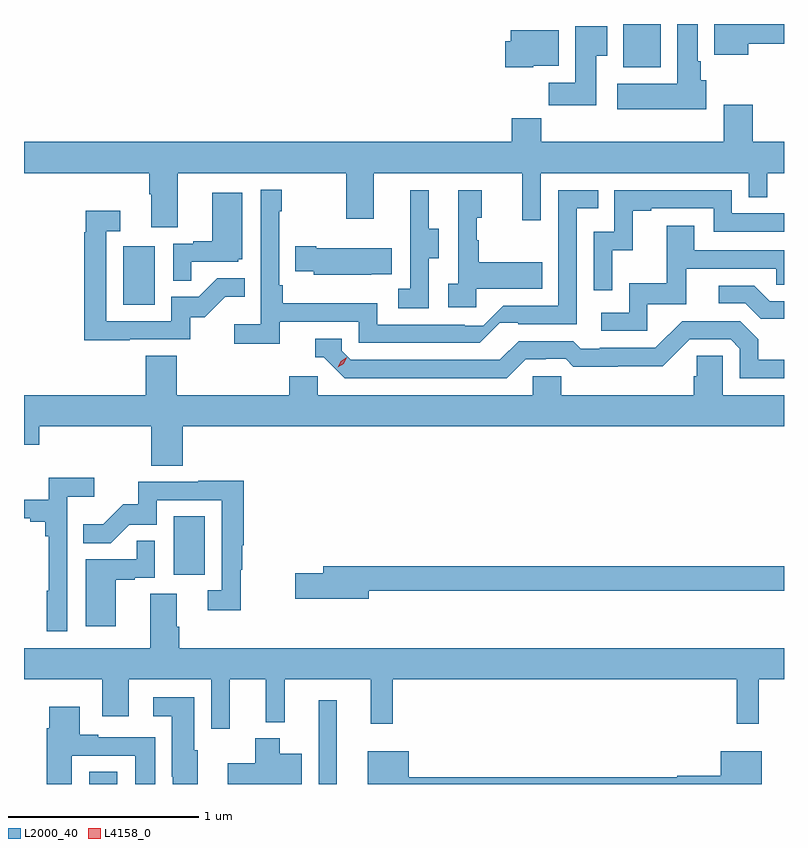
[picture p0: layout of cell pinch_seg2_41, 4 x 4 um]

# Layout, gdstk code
import gdstk
lib = gdstk.Library(unit=1e-6, precision=1e-09)
def R(c, l, rs):  # rectangles x0, y0, x1, y1
    for r in rs: c.add(gdstk.rectangle(r[:2], r[2:], *l))
def P(c, l, *ps):  # polygons
    for p in ps: c.add(gdstk.Polygon(p, *l))
L2000_40 = (2000, 40)
L4158_0 = (4158, 0)

pinch_seg2_41 = lib.new_cell('pinch_seg2_41')
R(pinch_seg2_41, L2000_40, [(1124.624,645.753,1124.773,645.818), (1125.831,645.753,1125.928,646.195), (1125.068,646.854,1125.232,647.161), (1124.804,648.276,1124.968,648.583), (1127.435,649.526,1127.632,649.753)])
P(pinch_seg2_41, L2000_40, [(1127.872,649.458),(1127.842,649.458),(1127.842,649.558),(1127.827,649.558),(1127.827,649.753),(1127.72,649.753),(1127.72,649.438),(1127.403,649.438),(1127.403,649.304),(1127.872,649.304)],
  [(1128.094,649.648),(1128.281,649.648),(1128.281,649.753),(1127.915,649.753),(1127.915,649.592),(1128.094,649.592)],
  [(1127.293,649.585),(1127.35,649.585),(1127.35,649.741),(1127.183,649.741),(1127.183,649.444),(1127.044,649.444),(1127.044,649.326),(1127.293,649.326)],
  [(1126.962,649.532),(1127.095,649.532),(1127.095,649.72),(1126.844,649.72),(1126.844,649.662),(1126.814,649.662),(1126.814,649.526),(1126.962,649.526)],
  [(1126.847,649.132),(1124.281,649.132),(1124.281,648.968),(1124.939,648.968),(1124.939,648.856),(1124.951,648.856),(1124.951,648.682),(1125.091,648.682),(1125.091,648.968),(1125.976,648.968),(1125.976,648.729),(1126.123,648.729),(1126.123,648.968),(1126.904,648.968),(1126.904,648.72),(1127.001,648.72),(1127.001,648.968),(1128.096,648.968),(1128.096,648.841),(1128.192,648.841),(1128.192,648.968),(1128.281,648.968),(1128.281,649.132),(1128.116,649.132),(1128.116,649.327),(1127.963,649.327),(1127.963,649.132),(1127.003,649.132),(1127.003,649.256),(1126.847,649.256)],
  [(1125.626,648.186),(1126.044,648.186),(1126.044,648.075),(1126.679,648.075),(1126.784,648.18),(1126.881,648.18),(1126.881,648.174),(1127.19,648.174),(1127.19,648.783),(1127.303,648.783),(1127.303,648.879),(1127.094,648.879),(1127.094,648.27),(1126.803,648.27),(1126.698,648.165),(1126.601,648.165),(1126.601,648.171),(1126.14,648.171),(1126.14,648.283),(1125.644,648.283),(1125.644,648.379),(1125.624,648.379),(1125.624,648.767),(1125.637,648.767),(1125.637,648.88),(1125.528,648.88),(1125.528,648.172),(1125.387,648.172),(1125.387,648.07),(1125.626,648.07)],
  [(1127.376,648.563),(1127.486,648.563),(1127.486,648.771),(1127.581,648.771),(1127.581,648.783),(1127.91,648.783),(1127.91,648.66),(1128.281,648.66),(1128.281,648.756),(1128.006,648.756),(1128.006,648.879),(1127.388,648.879),(1127.388,648.66),(1127.28,648.66),(1127.28,648.351),(1127.376,648.351)],
  [(1126.662,648.359),(1127.009,648.359),(1127.009,648.499),(1126.675,648.499),(1126.675,648.614),(1126.665,648.614),(1126.665,648.732),(1126.69,648.732),(1126.69,648.877),(1126.566,648.877),(1126.566,648.386),(1126.515,648.386),(1126.515,648.261),(1126.662,648.261)],
  [(1126.41,648.52),(1126.465,648.52),(1126.465,648.675),(1126.411,648.675),(1126.411,648.877),(1126.313,648.877),(1126.313,648.663),(1126.314,648.663),(1126.314,648.359),(1126.251,648.359),(1126.251,648.256),(1126.41,648.256)],
  [(1125.161,648.501),(1125.408,648.501),(1125.408,648.516),(1125.43,648.516),(1125.43,648.865),(1125.272,648.865),(1125.272,648.61),(1125.173,648.61),(1125.173,648.597),(1125.066,648.597),(1125.066,648.403),(1125.161,648.403)],
  [(1124.837,648.093),(1125.156,648.093),(1125.156,648.21),(1125.232,648.21),(1125.339,648.317),(1125.443,648.317),(1125.443,648.416),(1125.299,648.416),(1125.201,648.318),(1125.057,648.318),(1125.057,648.189),(1124.715,648.189),(1124.715,648.663),(1124.788,648.663),(1124.788,648.769),(1124.607,648.769),(1124.607,648.656),(1124.599,648.656),(1124.599,648.088),(1124.837,648.088)],
  [(1127.562,648.279),(1127.767,648.279),(1127.767,648.465),(1128.241,648.465),(1128.241,648.381),(1128.281,648.381),(1128.281,648.561),(1127.809,648.561),(1127.809,648.691),(1127.665,648.691),(1127.665,648.388),(1127.466,648.388),(1127.466,648.234),(1127.319,648.234),(1127.319,648.138),(1127.562,648.138)],
  [(1126.109,648.437),(1126.217,648.437),(1126.217,648.574),(1125.82,648.574),(1125.82,648.582),(1125.709,648.582),(1125.709,648.452),(1125.807,648.452),(1125.807,648.434),(1126.109,648.434)],
  [(1128.281,648.294),(1128.205,648.294),(1128.124,648.375),(1127.937,648.375),(1127.937,648.282),(1128.078,648.282),(1128.158,648.202),(1128.281,648.202)],
  [(1126.921,647.988),(1127.028,647.988),(1127.028,647.991),(1127.131,647.991),(1127.173,647.949),(1127.406,647.949),(1127.406,647.951),(1127.642,647.951),(1127.784,648.093),(1128,648.093),(1128.048,648.045),(1128.048,647.889),(1128.281,647.889),(1128.281,647.985),(1128.145,647.985),(1128.145,648.095),(1128.051,648.189),(1127.745,648.189),(1127.604,648.048),(1127.311,648.048),(1127.311,648.045),(1127.212,648.045),(1127.173,648.084),(1126.884,648.084),(1126.785,647.985),(1126.002,647.985),(1125.954,648.033),(1125.954,648.096),(1125.815,648.096),(1125.815,648),(1125.858,648),(1125.969,647.889),(1126.822,647.889)],
  [(1125.116,647.636),(1128.281,647.636),(1128.281,647.8),(1127.958,647.8),(1127.958,648.008),(1127.821,648.008),(1127.821,647.898),(1127.807,647.898),(1127.807,647.8),(1127.109,647.8),(1127.109,647.898),(1126.959,647.898),(1126.959,647.8),(1125.828,647.8),(1125.828,647.898),(1125.677,647.898),(1125.677,647.8),(1125.086,647.8),(1125.086,648.008),(1124.921,648.008),(1124.921,647.8),(1124.281,647.8),(1124.281,647.538),(1124.36,647.538),(1124.36,647.636),(1124.951,647.636),(1124.951,647.428),(1125.116,647.428)],
  [(1124.508,647.264),(1124.65,647.264),(1124.65,647.366),(1124.411,647.366),(1124.411,647.25),(1124.281,647.25),(1124.281,647.153),(1124.315,647.153),(1124.315,647.134),(1124.392,647.134),(1124.392,647.057),(1124.411,647.057),(1124.411,646.769),(1124.4,646.769),(1124.4,646.557),(1124.508,646.557)],
  [(1125.422,646.88),(1125.43,646.88),(1125.43,647.01),(1125.437,647.01),(1125.437,647.348),(1125.199,647.348),(1125.199,647.343),(1124.881,647.343),(1124.881,647.226),(1124.804,647.226),(1124.697,647.119),(1124.593,647.119),(1124.593,647.02),(1124.737,647.02),(1124.835,647.118),(1124.979,647.118),(1124.979,647.247),(1125.321,647.247),(1125.321,646.773),(1125.249,646.773),(1125.249,646.668),(1125.422,646.668)],
  [(1124.764,646.827),(1124.864,646.827),(1124.864,646.839),(1124.97,646.839),(1124.97,647.033),(1124.875,647.033),(1124.875,646.935),(1124.606,646.935),(1124.606,646.584),(1124.764,646.584)],
  [(1126.096,646.77),(1128.281,646.77),(1128.281,646.898),(1125.857,646.898),(1125.857,646.862),(1125.708,646.862),(1125.708,646.727),(1126.096,646.727)],
  [(1125.365,646.304),(1125.554,646.304),(1125.554,646.079),(1125.653,646.079),(1125.653,646.304),(1126.106,646.304),(1126.106,646.071),(1126.223,646.071),(1126.223,646.304),(1128.031,646.304),(1128.031,646.071),(1128.149,646.071),(1128.149,646.304),(1128.281,646.304),(1128.281,646.468),(1125.098,646.468),(1125.098,646.58),(1125.085,646.58),(1125.085,646.754),(1124.945,646.754),(1124.945,646.468),(1124.281,646.468),(1124.281,646.304),(1124.693,646.304),(1124.693,646.11),(1124.833,646.11),(1124.833,646.304),(1125.267,646.304),(1125.267,646.044),(1125.365,646.044)],
  [(1125.196,645.93),(1125.178,645.93),(1125.178,646.21),(1124.961,646.21),(1124.961,646.109),(1125.059,646.109),(1125.059,645.79),(1125.063,645.79),(1125.063,645.753),(1125.196,645.753)],
  [(1124.533,645.903),(1124.867,645.903),(1124.867,645.753),(1124.971,645.753),(1124.971,645.999),(1124.671,645.999),(1124.671,646.012),(1124.575,646.012),(1124.575,646.159),(1124.414,646.159),(1124.414,646.046),(1124.402,646.046),(1124.402,645.753),(1124.533,645.753)],
  [(1125.742,645.913),(1125.628,645.913),(1125.628,645.994),(1125.499,645.994),(1125.499,645.862),(1125.354,645.862),(1125.354,645.753),(1125.742,645.753)],
  [(1128.163,645.925),(1127.948,645.925),(1127.948,645.796),(1127.718,645.796),(1127.718,645.788),(1126.306,645.788),(1126.306,645.925),(1126.091,645.925),(1126.091,645.753),(1128.163,645.753)])
P(pinch_seg2_41, L4158_0, [(1125.932,647.946),(1125.932,647.946),(1125.948,647.978),(1125.979,647.998),(1125.979,647.998),(1125.979,647.998),(1125.963,647.965),(1125.932,647.946)])

lib.write_gds('pinch_seg2_41.gds')
